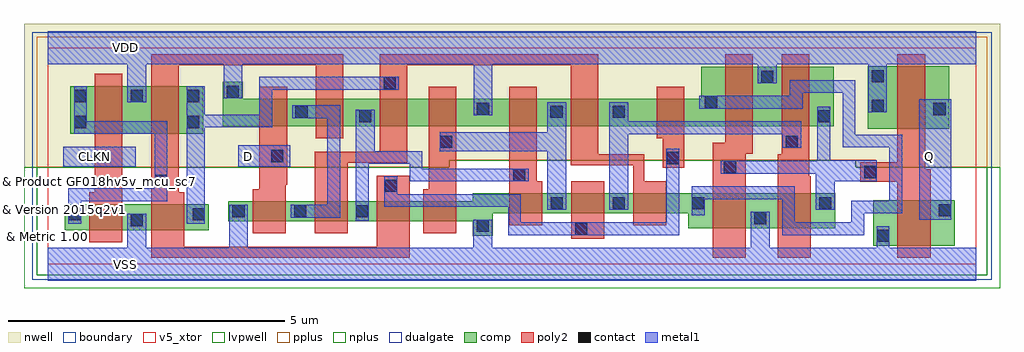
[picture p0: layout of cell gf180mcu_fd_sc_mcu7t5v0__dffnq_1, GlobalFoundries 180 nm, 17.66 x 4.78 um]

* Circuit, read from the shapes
.subckt gf180mcu_fd_sc_mcu7t5v0__dffnq_1 CLKN D Q VDD VSS
XM1 VSS CLKN n1 VSUBS nfet_05v0 w=0.465u l=0.6u
XM2 n2 n1 VSS VSUBS nfet_05v0 w=0.465u l=0.6u
XM3 n3 D VSS VSUBS nfet_05v0 w=0.36u l=0.6u
XM4 n4 n2 n3 VSUBS nfet_05v0 w=0.36u l=0.6u
XM5 n5 n1 n4 VSUBS nfet_05v0 w=0.36u l=0.6u
XM6 VSS n6 n5 VSUBS nfet_05v0 w=0.36u l=0.6u
XM7 n6 n4 VSS VSUBS nfet_05v0 w=0.36u l=0.6u
XM8 n7 n1 n6 VSUBS nfet_05v0 w=0.36u l=0.6u
XM9 n8 n2 n7 VSUBS nfet_05v0 w=0.36u l=0.6u
XM10 VSS n9 n8 VSUBS nfet_05v0 w=0.63u l=0.6u
XM11 n9 n7 VSS VSUBS nfet_05v0 w=0.63u l=0.6u
XM12 Q n9 VSS VSUBS nfet_05v0 w=0.82u l=0.6u
XM13 VDD CLKN n1 n10 pfet_05v0 w=0.865u l=0.5u
XM14 n2 n1 VDD n10 pfet_05v0 w=0.865u l=0.5u
XM15 n3 D VDD n10 pfet_05v0 w=0.495u l=0.5u
XM16 n4 n1 n3 n10 pfet_05v0 w=0.495u l=0.5u
XM17 n11 n2 n4 n10 pfet_05v0 w=0.495u l=0.5u
XM18 VDD n6 n11 n10 pfet_05v0 w=0.495u l=0.5u
XM19 n6 n4 VDD n10 pfet_05v0 w=0.495u l=0.5u
XM20 n7 n2 n6 n10 pfet_05v0 w=0.495u l=0.5u
XM21 n8 n1 n7 n10 pfet_05v0 w=0.495u l=0.5u
XM22 VDD n9 n8 n10 pfet_05v0 w=1.075u l=0.5u
XM23 n9 n7 VDD n10 pfet_05v0 w=1.075u l=0.5u
XM24 Q n9 VDD n10 pfet_05v0 w=1.13u l=0.5u
.ends

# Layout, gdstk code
import gdstk
lib = gdstk.Library(unit=1e-6, precision=1e-09)
def R(c, l, rs):  # rectangles x0, y0, x1, y1
    for r in rs: c.add(gdstk.rectangle(r[:2], r[2:], *l))
def A(c, l, x, y, w, h, nx, ny, dx, dy):  # array of equal rectangles
    R(c, l, [(x+i*dx, y+j*dy, x+i*dx+w, y+j*dy+h) for i in range(nx) for j in range(ny)])
def P(c, l, *ps):  # polygons
    for p in ps: c.add(gdstk.Polygon(p, *l))
boundary = (0, 0)
nwell = (21, 0)
comp = (22, 0)
poly2 = (30, 0)
pplus = (31, 0)
nplus = (32, 0)
contact = (33, 0)
metal1 = (34, 0)
dualgate = (55, 0)
v5_xtor = (112, 1)
lvpwell = (204, 0)

gf180mcu_fd_sc_mcu7t5v0_ = lib.new_cell('gf180mcu_fd_sc_mcu7t5v0__dffnq_1')
R(gf180mcu_fd_sc_mcu7t5v0_, boundary, [(0,0,16.8,3.92)])
P(gf180mcu_fd_sc_mcu7t5v0_, nwell, [(-0.43,1.76),(-0.43,4.35),(17.23,4.35),(17.23,1.76),(14.62,1.76),(14.62,1.885),(7.265,1.885),(7.265,1.76)])
R(gf180mcu_fd_sc_mcu7t5v0_, comp, [(14.935,0.34,16.415,1.16), (0.31,0.62,2.91,1.085), (0.41,2.36,2.81,3.225), (14.835,2.45,16.315,3.58)])
P(gf180mcu_fd_sc_mcu7t5v0_, comp, [(3.17,2.5),(3.17,3.3),(3.53,3.3),(3.53,2.995),(11.82,2.995),(11.82,3.575),(14.22,3.575),(14.22,2.5)],
  [(7.69,0.515),(7.69,0.78),(3.27,0.78),(3.27,1.14),(7.69,1.14),(7.69,1.285),(14.25,1.285),(14.25,0.655),(11.59,0.655),(11.59,0.925),(8.05,0.925),(8.05,0.515)])
R(gf180mcu_fd_sc_mcu7t5v0_, poly2, [(9.47,0.465,10.07,1.505)])
P(gf180mcu_fd_sc_mcu7t5v0_, poly2, [(0.75,0.4),(0.75,1.305),(0.85,1.305),(0.85,3.45),(1.35,3.45),(1.35,0.4)],
  [(3.71,0.56),(3.71,1.36),(3.83,1.36),(3.83,3.215),(4.33,3.215),(4.33,1.44),(4.31,1.44),(4.31,0.56)],
  [(1.87,0.12),(1.87,3.8),(5.35,3.8),(5.35,2.28),(4.85,2.28),(4.85,3.6),(2.37,3.6),(2.37,1.305),(2.47,1.305),(2.47,0.32),(5.95,0.32),(5.95,1.6),(6.55,1.6),(6.55,0.12)],
  [(6.79,0.56),(6.79,1.36),(6.89,1.36),(6.89,3.215),(7.39,3.215),(7.39,0.56)],
  [(8.35,0.705),(8.35,3.215),(8.85,3.215),(8.85,1.505),(8.95,1.505),(8.95,0.705)],
  [(4.83,0.56),(4.83,2.04),(6.005,2.04),(6.005,3.8),(9.965,3.8),(9.965,1.995),(10.79,1.995),(10.79,1.505),(11.19,1.505),(11.19,0.705),(10.59,0.705),(10.59,1.795),(9.465,1.795),(9.465,3.6),(6.505,3.6),(6.505,1.84),(5.43,1.84),(5.43,0.56)],
  [(11.13,1.745),(11.13,2.28),(11.02,2.28),(11.02,3.215),(11.52,3.215),(11.52,1.745)],
  [(12.03,0.12),(12.03,2.2),(12.26,2.2),(12.26,3.8),(12.76,3.8),(12.76,2),(12.63,2),(12.63,0.12)],
  [(13.21,0.12),(13.21,1.995),(13.28,1.995),(13.28,3.8),(13.78,3.8),(13.78,1.595),(13.81,1.595),(13.81,0.12)],
  [(15.375,0.12),(15.375,1.49),(14.705,1.49),(14.705,1.85),(15.375,1.85),(15.375,3.8),(15.875,3.8),(15.875,1.72),(15.975,1.72),(15.975,0.12)])
P(gf180mcu_fd_sc_mcu7t5v0_, pplus, [(-0.2,1.76),(-0.2,4.12),(17,4.12),(17,1.76),(14.99,1.76),(14.99,1.885),(7.265,1.885),(7.265,1.76)])
P(gf180mcu_fd_sc_mcu7t5v0_, nplus, [(-0.2,-0.2),(-0.2,1.76),(7.265,1.76),(7.265,1.885),(14.62,1.885),(14.62,1.76),(17,1.76),(17,-0.2)])
A(gf180mcu_fd_sc_mcu7t5v0_, contact, 3.34, 0.85, 0.22, 0.22, 3, 1, 1.12, 0)
A(gf180mcu_fd_sc_mcu7t5v0_, contact, 0.48, 2.935, 0.22, 0.22, 3, 1, 1.02, 0)
R(gf180mcu_fd_sc_mcu7t5v0_, contact, [(15.005,0.41,15.225,0.63), (9.54,0.535,9.76,0.755), (7.76,0.585,7.98,0.805), (1.5,0.69,1.72,0.91), (12.78,0.725,13,0.945), (0.38,0.795,0.6,1.015), (2.62,0.795,2.84,1.015), (16.125,0.87,16.345,1.09), (9.1,0.995,9.32,1.215), (10.22,0.995,10.44,1.215), (11.66,0.995,11.88,1.215), (13.96,0.995,14.18,1.215), (6.095,1.31,6.315,1.53), (1.94,1.405,2.16,1.625), (8.42,1.505,8.64,1.725), (14.775,1.56,14.995,1.78), (12.235,1.65,12.455,1.87), (11.2,1.815,11.42,2.035), (0.92,1.835,1.14,2.055), (4.04,1.85,4.26,2.07), (7.1,2.11,7.32,2.33), (13.35,2.11,13.57,2.33), (0.48,2.465,0.7,2.685), (2.52,2.465,2.74,2.685), (5.635,2.57,5.855,2.79), (13.93,2.57,14.15,2.79), (4.48,2.65,4.7,2.87), (9.095,2.65,9.315,2.87), (10.22,2.65,10.44,2.87), (16.025,2.7,16.245,2.92), (7.765,2.705,7.985,2.925), (14.905,2.76,15.125,2.98), (11.89,2.82,12.11,3.04), (3.24,3.01,3.46,3.23), (6.075,3.165,6.295,3.385), (12.91,3.285,13.13,3.505), (14.905,3.29,15.125,3.51)])
R(gf180mcu_fd_sc_mcu7t5v0_, metal1, [(15.77,0.81,16.35,2.985), (0.28,1.77,1.59,2.13), (3.45,1.77,4.39,2.15)])
P(gf180mcu_fd_sc_mcu7t5v0_, metal1, [(0.375,0.735),(0.375,1.375),(1.935,1.375),(1.935,2.36),(0.475,2.36),(0.475,3.225),(0.705,3.225),(0.705,2.59),(2.165,2.59),(2.165,1.145),(0.605,1.145),(0.605,0.735)],
  [(4.4,0.845),(4.4,1.075),(5.055,1.075),(5.055,2.645),(4.42,2.645),(4.42,2.875),(5.29,2.875),(5.29,0.845)],
  [(2.515,0.735),(2.515,3.225),(2.845,3.225),(2.845,2.71),(3.83,2.71),(3.83,3.39),(6.355,3.39),(6.355,3.16),(4.06,3.16),(4.06,2.48),(2.845,2.48),(2.845,0.735)],
  [(5.575,0.79),(5.575,2.795),(5.915,2.795),(5.915,2.05),(6.78,2.05),(6.78,1.73),(8.7,1.73),(8.7,1.5),(6.55,1.5),(6.55,1.82),(5.805,1.82),(5.805,0.79)],
  [(9.04,0.99),(9.04,2.05),(7.095,2.05),(7.095,2.39),(9.04,2.39),(9.04,2.93),(9.38,2.93),(9.38,0.99)],
  [(8.33,0.53),(8.33,1.04),(6.09,1.04),(6.09,1.59),(6.32,1.59),(6.32,1.27),(8.56,1.27),(8.56,0.76),(11.195,0.76),(11.195,2.095),(11.425,2.095),(11.425,0.53)],
  [(10.16,0.99),(10.16,2.93),(10.5,2.93),(10.5,2.585),(13.63,2.585),(13.63,2.105),(13.29,2.105),(13.29,2.355),(10.5,2.355),(10.5,0.99)],
  [(13.9,0.99),(13.9,1.64),(12.175,1.64),(12.175,1.875),(13.925,1.875),(13.925,2.85),(14.155,2.85),(14.155,1.885),(15,1.885),(15,1.5),(14.24,1.5),(14.24,0.99)],
  [(13.29,0.53),(13.29,1.18),(11.885,1.18),(11.885,0.89),(11.655,0.89),(11.655,1.41),(13.52,1.41),(13.52,0.76),(14.54,0.76),(14.54,1.15),(15.23,1.15),(15.23,2.115),(14.385,2.115),(14.385,3.1),(13.66,3.1),(13.66,2.815),(11.79,2.815),(11.79,3.05),(13.43,3.05),(13.43,3.33),(14.615,3.33),(14.615,2.345),(15.46,2.345),(15.46,0.92),(14.77,0.92),(14.77,0.53)],
  [(0,-0.3),(0,0.3),(1.44,0.3),(1.44,0.915),(1.78,0.915),(1.78,0.3),(3.28,0.3),(3.28,1.075),(3.62,1.075),(3.62,0.3),(7.7,0.3),(7.7,0.81),(8.04,0.81),(8.04,0.3),(12.72,0.3),(12.72,0.95),(13.06,0.95),(13.06,0.3),(15,0.3),(15,0.69),(15.23,0.69),(15.23,0.3),(16.8,0.3),(16.8,-0.3)],
  [(7.705,2.7),(7.705,3.62),(3.52,3.62),(3.52,3.005),(3.18,3.005),(3.18,3.62),(1.78,3.62),(1.78,2.93),(1.44,2.93),(1.44,3.62),(0,3.62),(0,4.22),(16.8,4.22),(16.8,3.62),(15.185,3.62),(15.185,2.755),(14.845,2.755),(14.845,3.62),(13.19,3.62),(13.19,3.28),(12.85,3.28),(12.85,3.62),(8.045,3.62),(8.045,2.7)])
R(gf180mcu_fd_sc_mcu7t5v0_, dualgate, [(-0.28,-0.28,17.08,4.2)])
R(gf180mcu_fd_sc_mcu7t5v0_, v5_xtor, [(0,0,16.8,3.92)])
P(gf180mcu_fd_sc_mcu7t5v0_, lvpwell, [(-0.43,-0.43),(-0.43,1.76),(7.265,1.76),(7.265,1.885),(14.62,1.885),(14.62,1.76),(17.23,1.76),(17.23,-0.43)])
gf180mcu_fd_sc_mcu7t5v0_.add(gdstk.Label('CLKN', (0.84,1.96), layer=34, texttype=10))
gf180mcu_fd_sc_mcu7t5v0_.add(gdstk.Label('VDD', (1.4,3.92), layer=34, texttype=10))
gf180mcu_fd_sc_mcu7t5v0_.add(gdstk.Label('VSS', (1.4,0), layer=34, texttype=10))
gf180mcu_fd_sc_mcu7t5v0_.add(gdstk.Label('D', (3.64,1.96), layer=34, texttype=10))
gf180mcu_fd_sc_mcu7t5v0_.add(gdstk.Label('Q', (15.96,1.96), layer=34, texttype=10))
gf180mcu_fd_sc_mcu7t5v0_.add(gdstk.Label('& Vendor GLOBALFOUNDRIES', (0,2), layer=63, texttype=63))
gf180mcu_fd_sc_mcu7t5v0_.add(gdstk.Label('& Product GF018hv5v_mcu_sc7', (0,1.5), layer=63, texttype=63))
gf180mcu_fd_sc_mcu7t5v0_.add(gdstk.Label('& Version 2015q2v1', (0,1), layer=63, texttype=63))
gf180mcu_fd_sc_mcu7t5v0_.add(gdstk.Label('& Metric 1.00', (0,0.5), layer=63, texttype=63))

lib.write_gds('gf180mcu_fd_sc_mcu7t5v0__dffnq_1.gds')
